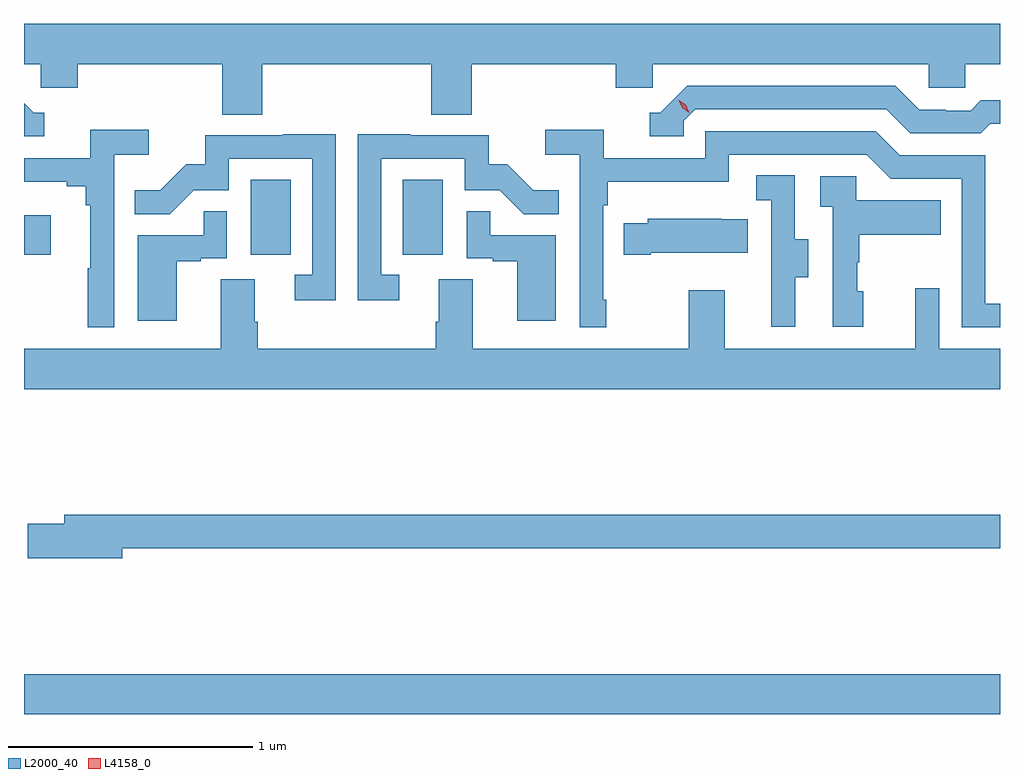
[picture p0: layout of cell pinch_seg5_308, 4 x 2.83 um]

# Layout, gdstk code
import gdstk
lib = gdstk.Library(unit=1e-6, precision=1e-09)
def R(c, l, rs):  # rectangles x0, y0, x1, y1
    for r in rs: c.add(gdstk.rectangle(r[:2], r[2:], *l))
def P(c, l, *ps):  # polygons
    for p in ps: c.add(gdstk.Polygon(p, *l))
L2000_40 = (2000, 40)
L4158_0 = (4158, 0)

pinch_seg5_308 = lib.new_cell('pinch_seg5_308')
R(pinch_seg5_308, L2000_40, [(910.575,887.396,914.575,887.56), (911.504,889.278,911.668,889.585), (912.128,889.278,912.292,889.585), (910.575,889.279,910.684,889.441)])
P(pinch_seg5_308, L2000_40, [(911.552,890.06),(912.245,890.06),(912.245,889.852),(912.41,889.852),(912.41,890.06),(913.001,890.06),(913.001,889.962),(913.152,889.962),(913.152,890.06),(914.283,890.06),(914.283,889.962),(914.433,889.962),(914.433,890.06),(914.575,890.06),(914.575,890.224),(910.575,890.224),(910.575,890.06),(910.644,890.06),(910.644,889.962),(910.796,889.962),(910.796,890.06),(911.387,890.06),(911.387,889.852),(911.552,889.852)],
  [(913.278,889.827),(913.326,889.875),(914.109,889.875),(914.208,889.776),(914.497,889.776),(914.536,889.815),(914.575,889.815),(914.575,889.912),(914.497,889.912),(914.455,889.869),(914.352,889.869),(914.352,889.872),(914.245,889.872),(914.146,889.971),(913.293,889.971),(913.182,889.86),(913.139,889.86),(913.139,889.764),(913.278,889.764)],
  [(910.657,889.86),(910.614,889.86),(910.575,889.899),(910.575,889.764),(910.657,889.764)],
  [(912.961,889.093),(912.948,889.093),(912.948,889.481),(912.968,889.481),(912.968,889.577),(913.464,889.577),(913.464,889.689),(914.028,889.689),(914.127,889.59),(914.418,889.59),(914.418,888.981),(914.575,888.981),(914.575,889.077),(914.514,889.077),(914.514,889.686),(914.164,889.686),(914.065,889.785),(913.368,889.785),(913.368,889.674),(912.95,889.674),(912.95,889.79),(912.711,889.79),(912.711,889.688),(912.852,889.688),(912.852,888.981),(912.961,888.981)],
  [(910.944,889.688),(911.086,889.688),(911.086,889.79),(910.847,889.79),(910.847,889.674),(910.575,889.674),(910.575,889.577),(910.751,889.577),(910.751,889.558),(910.828,889.558),(910.828,889.481),(910.847,889.481),(910.847,889.223),(910.836,889.223),(910.836,888.981),(910.944,888.981)],
  [(912.112,889.197),(912.039,889.197),(912.039,889.671),(912.381,889.671),(912.381,889.542),(912.525,889.542),(912.623,889.444),(912.767,889.444),(912.767,889.543),(912.663,889.543),(912.556,889.65),(912.48,889.65),(912.48,889.767),(912.161,889.767),(912.161,889.772),(911.943,889.772),(911.943,889.092),(912.112,889.092)],
  [(911.853,889.772),(911.635,889.772),(911.635,889.767),(911.317,889.767),(911.317,889.65),(911.24,889.65),(911.133,889.543),(911.029,889.543),(911.029,889.444),(911.173,889.444),(911.271,889.542),(911.415,889.542),(911.415,889.671),(911.757,889.671),(911.757,889.197),(911.685,889.197),(911.685,889.092),(911.853,889.092)],
  [(913.735,889.186),(913.789,889.186),(913.789,889.341),(913.734,889.341),(913.734,889.604),(913.575,889.604),(913.575,889.501),(913.638,889.501),(913.638,889.197),(913.637,889.197),(913.637,888.984),(913.735,888.984)],
  [(914.014,889.128),(913.989,889.128),(913.989,889.247),(913.999,889.247),(913.999,889.361),(914.333,889.361),(914.333,889.501),(913.986,889.501),(913.986,889.599),(913.839,889.599),(913.839,889.475),(913.89,889.475),(913.89,888.984),(914.014,888.984)],
  [(911.2,889.251),(911.3,889.251),(911.3,889.263),(911.406,889.263),(911.406,889.457),(911.311,889.457),(911.311,889.359),(911.042,889.359),(911.042,889.008),(911.2,889.008)],
  [(912.754,889.359),(912.485,889.359),(912.485,889.457),(912.39,889.457),(912.39,889.263),(912.497,889.263),(912.497,889.251),(912.596,889.251),(912.596,889.008),(912.754,889.008)],
  [(913.144,889.286),(913.541,889.286),(913.541,889.423),(913.433,889.423),(913.433,889.426),(913.131,889.426),(913.131,889.408),(913.033,889.408),(913.033,889.279),(913.144,889.279)],
  [(914.575,888.892),(914.325,888.892),(914.325,889.141),(914.228,889.141),(914.228,888.892),(913.447,888.892),(913.447,889.132),(913.3,889.132),(913.3,888.892),(912.415,888.892),(912.415,889.178),(912.275,889.178),(912.275,889.004),(912.263,889.004),(912.263,888.892),(911.534,888.892),(911.534,889.004),(911.521,889.004),(911.521,889.178),(911.381,889.178),(911.381,888.892),(910.575,888.892),(910.575,888.728),(914.575,888.728)],
  [(910.978,888.076),(914.575,888.076),(914.575,888.212),(910.739,888.212),(910.739,888.176),(910.59,888.176),(910.59,888.034),(910.978,888.034)])
P(pinch_seg5_308, L4158_0, [(913.302,889.861),(913.272,889.881),(913.256,889.914),(913.256,889.914),(913.256,889.914),(913.287,889.894),(913.302,889.861),(913.302,889.861)])

lib.write_gds('pinch_seg5_308.gds')
